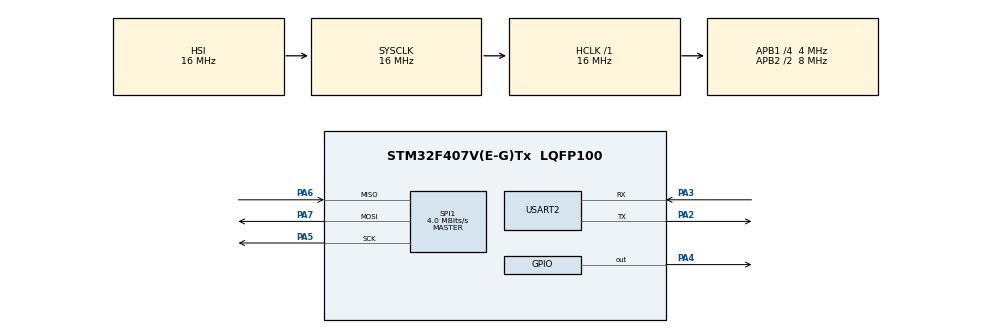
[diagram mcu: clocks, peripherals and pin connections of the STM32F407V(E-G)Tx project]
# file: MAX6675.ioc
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Mcu.Family=STM32F4
Mcu.Name=STM32F407V(E-G)Tx
Mcu.Package=LQFP100
NVIC.PriorityGroup=NVIC_PRIORITYGROUP_0
PA13.Mode=Serial_Wire
PA13.Signal=SYS_JTMS-SWDIO
PA14.Mode=Serial_Wire
PA14.Signal=SYS_JTCK-SWCLK
PA2.Mode=Asynchronous
PA2.Signal=USART2_TX
PA3.Mode=Asynchronous
PA3.Signal=USART2_RX
PA4.Signal=GPIO_Output
PA5.Mode=Full_Duplex_Master
PA5.Signal=SPI1_SCK
PA6.Mode=Full_Duplex_Master
PA6.Signal=SPI1_MISO
PA7.Mode=Full_Duplex_Master
PA7.Signal=SPI1_MOSI
PH0-OSC_IN.Mode=HSE-External-Oscillator
PH0-OSC_IN.Signal=RCC_OSC_IN
PH1-OSC_OUT.Mode=HSE-External-Oscillator
PH1-OSC_OUT.Signal=RCC_OSC_OUT
ProjectManager.HeapSize=0x200
ProjectManager.StackSize=0x400
ProjectManager.TargetToolchain=STM32CubeIDE
RCC.48MHZClocksFreq_Value=96000000
RCC.AHBFreq_Value=16000000
RCC.APB1CLKDivider=RCC_HCLK_DIV4
RCC.APB1Freq_Value=4000000
RCC.APB1TimFreq_Value=8000000
RCC.APB2CLKDivider=RCC_HCLK_DIV2
RCC.APB2Freq_Value=8000000
RCC.APB2TimFreq_Value=16000000
RCC.CortexFreq_Value=16000000
RCC.HCLKFreq_Value=16000000
RCC.HSE_VALUE=8000000
RCC.HSI_VALUE=16000000
RCC.PLLM=8
RCC.PLLN=336
RCC.PLLQ=7
RCC.SYSCLKFreq_VALUE=16000000
RCC.VCOOutputFreq_Value=672000000
SPI1.CalculateBaudRate=4.0 MBits/s
SPI1.Direction=SPI_DIRECTION_2LINES
SPI1.Mode=SPI_MODE_MASTER
SPI1.VirtualType=VM_MASTER
USART2.VirtualMode=VM_ASYNC
board=STM32F407G-DISC1

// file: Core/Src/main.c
/* USER CODE BEGIN Header */
/**
  ******************************************************************************
  * @file           : main.c
  * @brief          : Main program body
  ******************************************************************************
  * @attention
  *
  * Copyright (c) 2026 STMicroelectronics.
  * All rights reserved.
  *
  * This software is licensed under terms that can be found in the LICENSE file
  * in the root directory of this software component.
  * If no LICENSE file comes with this software, it is provided AS-IS.
  *
  ******************************************************************************
  */
/* USER CODE END Header */
#include "main.h"
#include <stdio.h>
#include <string.h>

SPI_HandleTypeDef hspi1;

UART_HandleTypeDef huart2;

void SystemClock_Config(void);
static void MX_GPIO_Init(void);
static void MX_SPI1_Init(void);
static void MX_USART2_UART_Init(void);

int main(void)
{

  /* MCU Configuration--------------------------------------------------------*/

  /* Reset of all peripherals, Initializes the Flash interface and the Systick. */
  HAL_Init();

  /* Configure the system clock */
  SystemClock_Config();

  /* Initialize all configured peripherals */
  MX_GPIO_Init();
  MX_SPI1_Init();
  MX_USART2_UART_Init();

  /* Infinite loop */
  while (1)
  {

    /* USER CODE BEGIN 3 */
	  uint8_t rx_data[2];
	  	      uint16_t value;
	  	      float temperature;
	  	      char msg[50];   // ✅ MOVE HERE

	  	      HAL_GPIO_WritePin(GPIOA, GPIO_PIN_4, GPIO_PIN_RESET);

	  	      HAL_SPI_Receive(&hspi1, rx_data, 2, HAL_MAX_DELAY);

	  	      HAL_GPIO_WritePin(GPIOA, GPIO_PIN_4, GPIO_PIN_SET);

	  	      value = (rx_data[0] << 8) | rx_data[1];

	  	      if (value & 0x4)
	  	      {
	  	          sprintf(msg, "Sensor Error\r\n");
	  	      }
	  	      else
	  	      {
	  	          value >>= 3;
	  	          temperature = value * 0.25;

	  	         sprintf(msg, "Temp = %0.2f\r\n", (int)temperature);
	  	      }

	  	      HAL_UART_Transmit(&huart2, (uint8_t*)msg, strlen(msg), 100);

	  	      HAL_Delay(500);
  }
  /* USER CODE END 3 */
}

void SystemClock_Config(void)
{
  RCC_OscInitTypeDef RCC_OscInitStruct = {0};
  RCC_ClkInitTypeDef RCC_ClkInitStruct = {0};

  /** Configure the main internal regulator output voltage
  */
  __HAL_RCC_PWR_CLK_ENABLE();
  __HAL_PWR_VOLTAGESCALING_CONFIG(PWR_REGULATOR_VOLTAGE_SCALE1);

  /** Initializes the RCC Oscillators according to the specified parameters
  * in the RCC_OscInitTypeDef structure.
  */
  RCC_OscInitStruct.OscillatorType = RCC_OSCILLATORTYPE_HSI;
  RCC_OscInitStruct.HSIState = RCC_HSI_ON;
  RCC_OscInitStruct.HSICalibrationValue = RCC_HSICALIBRATION_DEFAULT;
  RCC_OscInitStruct.PLL.PLLState = RCC_PLL_NONE;
  if (HAL_RCC_OscConfig(&RCC_OscInitStruct) != HAL_OK)
  {
    Error_Handler();
  }

  /** Initializes the CPU, AHB and APB buses clocks
  */
  RCC_ClkInitStruct.ClockType = RCC_CLOCKTYPE_HCLK|RCC_CLOCKTYPE_SYSCLK
                              |RCC_CLOCKTYPE_PCLK1|RCC_CLOCKTYPE_PCLK2;
  RCC_ClkInitStruct.SYSCLKSource = RCC_SYSCLKSOURCE_HSI;
  RCC_ClkInitStruct.AHBCLKDivider = RCC_SYSCLK_DIV1;
  RCC_ClkInitStruct.APB1CLKDivider = RCC_HCLK_DIV4;
  RCC_ClkInitStruct.APB2CLKDivider = RCC_HCLK_DIV2;

  if (HAL_RCC_ClockConfig(&RCC_ClkInitStruct, FLASH_LATENCY_0) != HAL_OK)
  {
    Error_Handler();
  }
}

static void MX_SPI1_Init(void)
{

  /* SPI1 parameter configuration*/
  hspi1.Instance = SPI1;
  hspi1.Init.Mode = SPI_MODE_MASTER;
  hspi1.Init.Direction = SPI_DIRECTION_2LINES;
  hspi1.Init.DataSize = SPI_DATASIZE_8BIT;
  hspi1.Init.CLKPolarity = SPI_POLARITY_LOW;
  hspi1.Init.CLKPhase = SPI_PHASE_1EDGE;
  hspi1.Init.NSS = SPI_NSS_SOFT;
  hspi1.Init.BaudRatePrescaler = SPI_BAUDRATEPRESCALER_2;
  hspi1.Init.FirstBit = SPI_FIRSTBIT_MSB;
  hspi1.Init.TIMode = SPI_TIMODE_DISABLE;
  hspi1.Init.CRCCalculation = SPI_CRCCALCULATION_DISABLE;
  hspi1.Init.CRCPolynomial = 10;
  if (HAL_SPI_Init(&hspi1) != HAL_OK)
  {
    Error_Handler();
  }

}

static void MX_USART2_UART_Init(void)
{

  huart2.Instance = USART2;
  huart2.Init.BaudRate = 115200;
  huart2.Init.WordLength = UART_WORDLENGTH_8B;
  huart2.Init.StopBits = UART_STOPBITS_1;
  huart2.Init.Parity = UART_PARITY_NONE;
  huart2.Init.Mode = UART_MODE_TX_RX;
  huart2.Init.HwFlowCtl = UART_HWCONTROL_NONE;
  huart2.Init.OverSampling = UART_OVERSAMPLING_16;
  if (HAL_UART_Init(&huart2) != HAL_OK)
  {
    Error_Handler();
  }

}

static void MX_GPIO_Init(void)
{
  GPIO_InitTypeDef GPIO_InitStruct = {0};

  /* GPIO Ports Clock Enable */
  __HAL_RCC_GPIOH_CLK_ENABLE();
  __HAL_RCC_GPIOA_CLK_ENABLE();

  /*Configure GPIO pin Output Level */
  HAL_GPIO_WritePin(GPIOA, GPIO_PIN_4, GPIO_PIN_RESET);

  /*Configure GPIO pin : PA4 */
  GPIO_InitStruct.Pin = GPIO_PIN_4;
  GPIO_InitStruct.Mode = GPIO_MODE_OUTPUT_PP;
  GPIO_InitStruct.Pull = GPIO_NOPULL;
  GPIO_InitStruct.Speed = GPIO_SPEED_FREQ_LOW;
  HAL_GPIO_Init(GPIOA, &GPIO_InitStruct);

}

void Error_Handler(void)
{
  __disable_irq();
  while (1)
  {
  }
}
